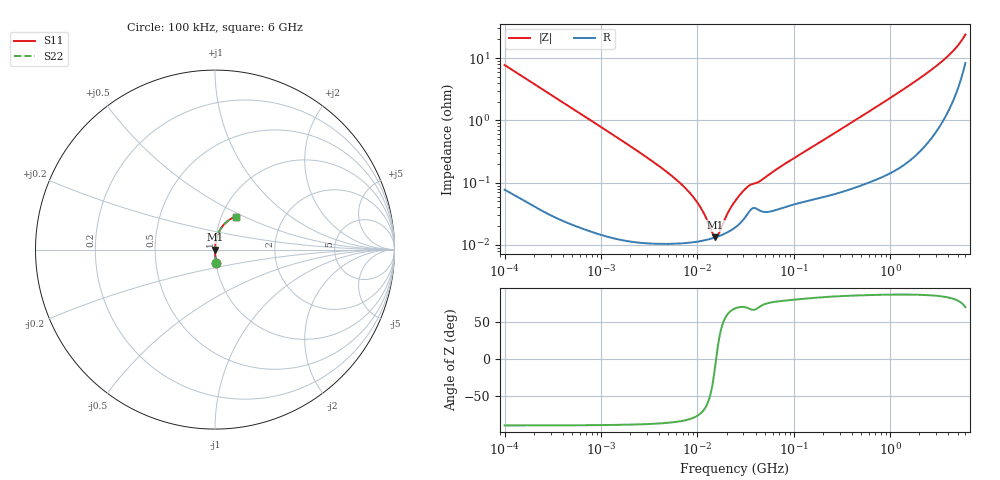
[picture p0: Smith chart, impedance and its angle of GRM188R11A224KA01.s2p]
!Murata Part Number: GRM188R11A224KA01
!These Parameters are Measured in Series Mode Connection
!Data Generated on Mar 30, 2021
!  o--ll--o
!Port1  Port2
!  o------o
!Operation Temp=25[degC], DC Bias Voltage=0[V]
!Freq. Start=100[kHz] Stop=6[GHz] 401[Steps]
# Hz S RI R 50
!Freq.(Hz) S11(Real) S11(Imag) S21(Real) S21(Imag) S12(Real) S12(Imag) S22(Real) S22(Imag)
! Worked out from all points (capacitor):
!   401 points, 100 kHz to 6 GHz, reference 50 ohm
!   read as one part in series: C = 204 nF near 105.7 kHz
!   lowest |Z| = 13.4 mohm at 15.35 MHz (marker M1)
!   series resonance near 15.61 MHz, so ESL is about 510 pH
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100000  0.00676 -0.0771  0.9932 0.0771  0.9932 0.0771  0.00676 -0.0771
631452  0.000338 -0.0124  0.9997 0.0124  0.9997 0.0124  0.000338 -0.0124
3987316  0.000108 -0.00185  0.9999 0.00185  0.9999 0.00185  0.000108 -0.00185
6364321  0.000106 -0.00103  0.9999 0.00103  0.9999 0.00103  0.000106 -0.00103
8853126  0.00011 -0.000603  0.9999 0.000603  0.9999 0.000603  0.00011 -0.000603
1.103214e7  0.000116 -0.000357  0.9999 0.000357  0.9999 0.000357  0.000116 -0.000357
1.231519e7  0.00012 -0.000241  0.9999 0.000241  0.9999 0.000241  0.00012 -0.000241
1.413084e7  0.000127 -0.0001  0.9999 0.0001  0.9999 0.0001  0.000127 -0.0001
1.534632e7  0.000132 -1.72e-05  0.9999 1.72e-05  0.9999 1.72e-05  0.000132 -1.72e-05
1.577428e7  0.000134 1.05e-05  0.9999 -1.05e-05  0.9999 -1.05e-05  0.000134 1.05e-05
1.666634e7  0.000139 6.58e-05  0.9999 -6.58e-05  0.9999 -6.58e-05  0.000139 6.58e-05
2.076842e7  0.000162 0.00029  0.9998 -0.00029  0.9998 -0.00029  0.000162 0.00029
2.517799e7  0.000196 0.000498  0.9998 -0.000498  0.9998 -0.000498  0.000196 0.000498
2.969568e7  0.000252 0.000686  0.9997 -0.000686  0.9997 -0.000686  0.000252 0.000686
3.407377e7  0.000337 0.000826  0.9997 -0.000826  0.9997 -0.000826  0.000337 0.000826
4.486152e7  0.000354 0.00101  0.9996 -0.00101  0.9996 -0.00101  0.000354 0.00101
7.360219e7  0.000389 0.00179  0.9996 -0.00179  0.9996 -0.00179  0.000389 0.00179
1.546735e8  0.000544 0.00371  0.9995 -0.00371  0.9995 -0.00371  0.000544 0.00371
9.76689e8  0.00189 0.0224  0.9981 -0.0224  0.9981 -0.0224  0.00189 0.0224
3.187187e9  0.0139 0.0787  0.9861 -0.0787  0.9861 -0.0787  0.0139 0.0787
4.68428e9  0.0415 0.13  0.9585 -0.13  0.9585 -0.13  0.0415 0.13
6e9  0.1154 0.1838  0.8846 -0.1838  0.8846 -0.1838  0.1154 0.1838
